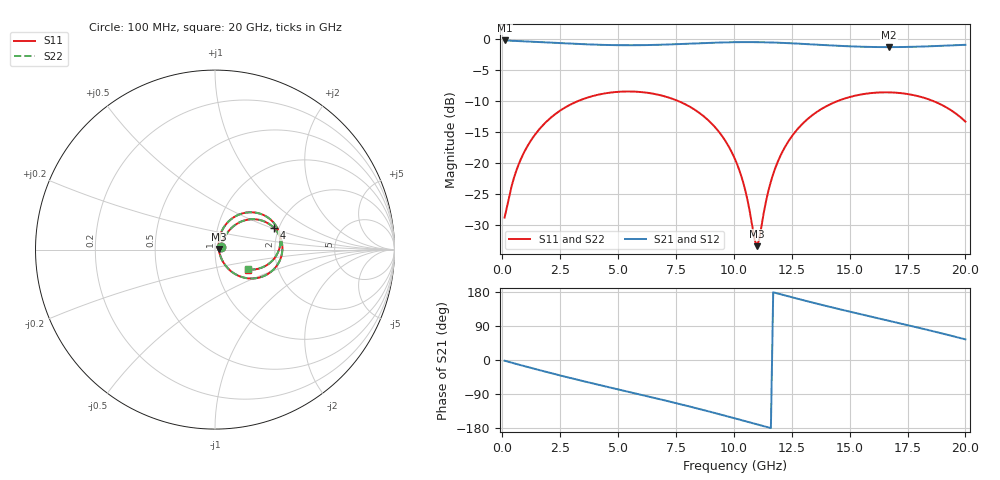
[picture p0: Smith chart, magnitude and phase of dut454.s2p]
! Touchstone file exported from HFSS 2026.1.0
!  File:  C:/ffzhzh/LocalFiles/Ansys_Project_Files/temp_train_TSV_RDL_454_1783100644_46604.aedt
!  Generated:  01:55:12 AM Jul  4, 2026
!  Design:  TSV_RDL
!  Project:  temp_train_TSV_RDL_454_1783100644_46604
! Variables:
!  h_bsmrdl = 2.11um
!  h_ox = 20um
!  h_rdl = 5um
!  h_sub = 58.67um
!  h_tmrdl = 4.5um
!  h_tsv = 58.67um
!  h_via = 3um
!  l_bsmrdl = 899.63um
!  l_sub = 5275.47um
!  l_tmrdl = 518.3um
!  m_sub = 200um
!  pitch = 31.67um
!  r_tsv = 9.87um
!  s_tmrdl = 10um
!  w_bsmrdl = 21.64um
!  w_sub = 500um
!  w_tmrdl = 12.82um
!  x_tsv_center1 = 524.71um
!  x_tsv_center2 = 1445.98um
!  x_tsv_center3 = 1977.1um
!  x_tsv_center4 = 2898.37um
!  x_tsv_center5 = 3429.49um
!  x_tsv_center6 = 4350.76um
# GHz S MA R 50.000000
! Terminal data exported
! Port[1] = TM_RDL1_1_T1
! Port[2] = TM_RDL5_1_T1
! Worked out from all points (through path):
!   200 points, 100 MHz to 20 GHz, reference 50 ohm
!   highest |S21| = -0.30 dB at 100 MHz (marker M1); lowest = -1.4 dB at 16.7 GHz (marker M2)
!   group delay of S21, straight-line fit = 42.4 ps
!   lowest |S11| = -33.4 dB at 11 GHz (marker M3), VSWR 1.04, Z = 52.2 + j0.321 ohm
!   |S11| at or under -10 dB: start of sweep to 3.298 GHz; 7.572 GHz to 14.51 GHz (6.937 GHz wide, 62.8 % of centre); 18.58 GHz to end of sweep
!   |S22| runs from -33.3 to -8.5 dB; largest |S21 - S12| = 1.6e-14
!   S11 on the Smith chart (normalised r, x): 100 MHz: 1.07, +0.03; 4 GHz: 1.87, +0.52; 20 GHz: 1.41, -0.33
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0.1  0.03642 20.8  0.9663 -1.8  0.9663 -1.8  0.03642 20.8
! Gamma 0 0 0 0
! Port Impedance 50 0 50 0
0.6  0.08621 52.3  0.9576 -10.4  0.9576 -10.4  0.08621 52.3
1.3  0.1579 52.3  0.945 -21.8  0.945 -21.8  0.1579 52.3
2.3  0.2482 42.3  0.9251 -37.7  0.9251 -37.7  0.2482 42.3
3.5  0.3269 27.2  0.9019 -55.8  0.9019 -55.8  0.3269 27.2
4  0.3489 20.6  0.8943 -63.2  0.8943 -63.2  0.3488 20.7
5.4  0.3757 2.3  0.8844 -83.3  0.8844 -83.3  0.3756 2.3
6.8  0.3516 -16.4  0.8922 -103.4  0.8922 -103.4  0.3515 -16.3
8.8  0.2288 -43.4  0.922 -133.8  0.922 -133.8  0.2288 -43.4
9.5  0.1639 -52.1  0.9313 -145.1  0.9313 -145.1  0.1639 -52.0
10.1  0.102 -56.9  0.9362 -154.9  0.9362 -154.9  0.102 -56.8
10.5  0.05966 -54.3  0.9374 -161.5  0.9374 -161.5  0.05971 -54.1
10.9  0.02395 -18.3  0.9367 -168.1  0.9367 -168.1  0.02412 -18.0
11  0.02144 8.2  0.9362 -169.8  0.9362 -169.8  0.02164 8.3
11.5  0.06057 68.0  0.9322 -178.0  0.9322 -178.0  0.06065 67.8
11.9  0.1025 70.4  0.927 175.4  0.927 175.4  0.1026 70.3
12.5  0.1634 65.6  0.9167 165.7  0.9167 165.7  0.1634 65.5
13.4  0.2431 54.5  0.8979 151.5  0.8979 151.5  0.2431 54.5
15  0.3388 33.4  0.867 127.7  0.867 127.7  0.3387 33.4
16.7  0.3697 11.2  0.854 103.5  0.854 103.5  0.3696 11.2
18.4  0.3256 -10.9  0.8667 79.0  0.8667 79.0  0.3255 -10.8
20  0.2152 -31.1  0.8916 54.5  0.8916 54.5  0.2151 -30.9
